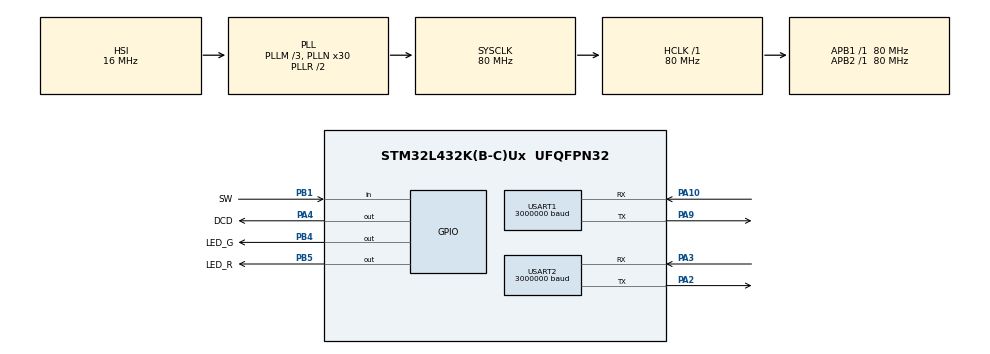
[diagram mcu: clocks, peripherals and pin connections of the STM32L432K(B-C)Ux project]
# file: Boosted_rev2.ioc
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Mcu.Family=STM32L4
Mcu.Name=STM32L432K(B-C)Ux
Mcu.Package=UFQFPN32
NVIC.PriorityGroup=NVIC_PRIORITYGROUP_4
NVIC.USART1_IRQn=true\:0\:0\:false\:false\:true\:true\:true\:true
NVIC.USART2_IRQn=true\:0\:0\:true\:false\:true\:true\:true\:true
PA0.Mode=HSE-External-Clock-Source-for-LittleOrca
PA0.Signal=RCC_CK_IN
PA10.Mode=Asynchronous
PA10.Signal=USART1_RX
PA13\ (JTMS-SWDIO).Mode=Trace_Asynchronous_SW
PA13\ (JTMS-SWDIO).Signal=SYS_JTMS-SWDIO
PA14\ (JTCK-SWCLK).Mode=Trace_Asynchronous_SW
PA14\ (JTCK-SWCLK).Signal=SYS_JTCK-SWCLK
PA2.Mode=Asynchronous
PA2.Signal=USART2_TX
PA3.Mode=Asynchronous
PA3.Signal=USART2_RX
PA4.GPIO_Label=DCD
PA4.Signal=GPIO_Output
PA9.Mode=Asynchronous
PA9.Signal=USART1_TX
PB1.GPIO_Label=SW
PB1.GPIO_PuPd=GPIO_PULLUP
PB1.Signal=GPIO_Input
PB3\ (JTDO-TRACESWO).Mode=Trace_Asynchronous_SW
PB3\ (JTDO-TRACESWO).Signal=SYS_JTDO-SWO
PB4\ (NJTRST).GPIO_Label=LED_G
PB4\ (NJTRST).Signal=GPIO_Output
PB5.GPIO_Label=LED_R
PB5.Signal=GPIO_Output
ProjectManager.HeapSize=0x200
ProjectManager.StackSize=0x800
ProjectManager.TargetToolchain=STM32CubeIDE
RCC.ADCFreq_Value=21333333.333333332
RCC.AHBFreq_Value=80000000
RCC.APB1Freq_Value=80000000
RCC.APB1TimFreq_Value=80000000
RCC.APB2Freq_Value=80000000
RCC.APB2TimFreq_Value=80000000
RCC.CortexFreq_Value=80000000
RCC.HCLKFreq_Value=80000000
RCC.HSE_Timout=1000
RCC.HSE_VALUE=15000000
RCC.HSI48_VALUE=48000000
RCC.HSI_VALUE=16000000
RCC.LSE_VALUE=32768
RCC.MSI_VALUE=4000000
RCC.PLLM=3
RCC.PLLN=30
RCC.PLLSourceVirtual=RCC_PLLSOURCE_HSI
RCC.PREFETCH_ENABLE=1
RCC.SYSCLKFreq_VALUE=80000000
RCC.SYSCLKSource=RCC_SYSCLKSOURCE_PLLCLK
RCC.USBFreq_Value=21333333.333333332
RCC.VCOOutputFreq_Value=160000000
USART1.BaudRate=3000000
USART1.Mode=MODE_TX_RX
USART1.OverSampling=UART_OVERSAMPLING_8
USART1.VirtualMode-Asynchronous=VM_ASYNC
USART1.WordLength=WORDLENGTH_8B
USART2.BaudRate=3000000
USART2.OverSampling=UART_OVERSAMPLING_8
USART2.VirtualMode-Asynchronous=VM_ASYNC
USART2.WordLength=WORDLENGTH_8B
board=Boosted_rev2

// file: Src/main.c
/* USER CODE BEGIN Header */
/**
  ******************************************************************************
  * @file           : main.c
  * @brief          : Main program body
  ******************************************************************************
  * @attention
  *
  * Copyright (c) 2022 STMicroelectronics.
  * All rights reserved.
  *
  * This software is licensed under terms that can be found in the LICENSE file
  * in the root directory of this software component.
  * If no LICENSE file comes with this software, it is provided AS-IS.
  *
  ******************************************************************************
  */
/* USER CODE END Header */
#include "main.h"

/* USER CODE BEGIN Includes */
#include "config.h"
/* USER CODE END Includes */

UART_HandleTypeDef huart1;
UART_HandleTypeDef huart2;

/* USER CODE BEGIN PV */
/* Private variables ---------------------------------------------------------*/

LED_TypeDef LED_R;
LED_TypeDef LED_G;

volatile Packet_TypeDef RX;
volatile Packet_TypeDef TX;

volatile uint32_t Global_Error = 0;

/* USER CODE END PV */

void SystemClock_Config(void);
static void MX_GPIO_Init(void);
static void MX_USART1_UART_Init(void);
static void MX_USART2_UART_Init(void);
/* USER CODE BEGIN PFP */
/* Private function prototypes -----------------------------------------------*/
void LED_Routine();

/* USER CODE END PFP */

int main(void)
{

  /* MCU Configuration--------------------------------------------------------*/

  /* Reset of all peripherals, Initializes the Flash interface and the Systick. */
  HAL_Init();

  /* Configure the system clock */
  SystemClock_Config();

  /* Initialize all configured peripherals */
  MX_GPIO_Init();
  MX_USART1_UART_Init();
  MX_USART2_UART_Init();
  /* USER CODE BEGIN 2 */

	/*Initialize UART*/

	HAL_UART_DeInit(&HUART_PC);
	HAL_UART_DeInit(&HUART_MOTOR);

	/* Change baudrate based on dip switch position */
	if (BAUD_SW)
	{
		LED_R.Pattern=2;
		HUART_PC.Init.BaudRate = 8000000;
		HUART_MOTOR.Init.BaudRate = 8000000;
	}
	else
	{
		LED_R.Pattern=3;
		HUART_PC.Init.BaudRate = 3000000;
		HUART_MOTOR.Init.BaudRate = 3000000;
	}

	LED_R.Cycles=1;

	/* UART1 from PC */
	HAL_UART_Init(&HUART_PC);
	/* UART2 from motors */
	HAL_UART_Init(&HUART_MOTOR);

	/* Enable the UART Error Interrupt: (Frame error, noise error, overrun error) */
	SET_BIT(USART_PC->CR3, USART_CR3_EIE);
	/* Enable the UART Parity Error interrupt and Data Register Not Empty interrupt */
	SET_BIT(USART_PC->CR1, USART_CR1_PEIE | USART_CR1_RXNEIE);

	/* Enable the UART Error Interrupt: (Frame error, noise error, overrun error) */
	SET_BIT(USART_MOTOR->CR3, USART_CR3_EIE);
	/* Enable the UART Parity Error interrupt and Data Register Not Empty interrupt */
	SET_BIT(USART_MOTOR->CR1, USART_CR1_PEIE | USART_CR1_RXNEIE);

	LED_G_ON();

  /* USER CODE END 2 */

  /* Infinite loop */
	while (1)
	{

    /* USER CODE BEGIN 3 */

		/*Watchdog*/
		//HAL_IWDG_Refresh(&hiwdg);

	}

  /* USER CODE END 3 */
}

void SystemClock_Config(void)
{
  RCC_OscInitTypeDef RCC_OscInitStruct = {0};
  RCC_ClkInitTypeDef RCC_ClkInitStruct = {0};

  /** Configure the main internal regulator output voltage
  */
  if (HAL_PWREx_ControlVoltageScaling(PWR_REGULATOR_VOLTAGE_SCALE1) != HAL_OK)
  {
    Error_Handler();
  }

  /** Initializes the RCC Oscillators according to the specified parameters
  * in the RCC_OscInitTypeDef structure.
  */
  RCC_OscInitStruct.OscillatorType = RCC_OSCILLATORTYPE_HSI;
  RCC_OscInitStruct.HSIState = RCC_HSI_ON;
  RCC_OscInitStruct.HSICalibrationValue = RCC_HSICALIBRATION_DEFAULT;
  RCC_OscInitStruct.PLL.PLLState = RCC_PLL_ON;
  RCC_OscInitStruct.PLL.PLLSource = RCC_PLLSOURCE_HSI;
  RCC_OscInitStruct.PLL.PLLM = 3;
  RCC_OscInitStruct.PLL.PLLN = 30;
  RCC_OscInitStruct.PLL.PLLP = RCC_PLLP_DIV7;
  RCC_OscInitStruct.PLL.PLLQ = RCC_PLLQ_DIV2;
  RCC_OscInitStruct.PLL.PLLR = RCC_PLLR_DIV2;
  if (HAL_RCC_OscConfig(&RCC_OscInitStruct) != HAL_OK)
  {
    Error_Handler();
  }

  /** Initializes the CPU, AHB and APB buses clocks
  */
  RCC_ClkInitStruct.ClockType = RCC_CLOCKTYPE_HCLK|RCC_CLOCKTYPE_SYSCLK
                              |RCC_CLOCKTYPE_PCLK1|RCC_CLOCKTYPE_PCLK2;
  RCC_ClkInitStruct.SYSCLKSource = RCC_SYSCLKSOURCE_PLLCLK;
  RCC_ClkInitStruct.AHBCLKDivider = RCC_SYSCLK_DIV1;
  RCC_ClkInitStruct.APB1CLKDivider = RCC_HCLK_DIV1;
  RCC_ClkInitStruct.APB2CLKDivider = RCC_HCLK_DIV1;

  if (HAL_RCC_ClockConfig(&RCC_ClkInitStruct, FLASH_LATENCY_4) != HAL_OK)
  {
    Error_Handler();
  }
}

static void MX_USART1_UART_Init(void)
{

  huart1.Instance = USART1;
  huart1.Init.BaudRate = 3000000;
  huart1.Init.WordLength = UART_WORDLENGTH_8B;
  huart1.Init.StopBits = UART_STOPBITS_1;
  huart1.Init.Parity = UART_PARITY_NONE;
  huart1.Init.Mode = UART_MODE_TX_RX;
  huart1.Init.HwFlowCtl = UART_HWCONTROL_NONE;
  huart1.Init.OverSampling = UART_OVERSAMPLING_8;
  huart1.Init.OneBitSampling = UART_ONE_BIT_SAMPLE_DISABLE;
  huart1.AdvancedInit.AdvFeatureInit = UART_ADVFEATURE_NO_INIT;
  if (HAL_UART_Init(&huart1) != HAL_OK)
  {
    Error_Handler();
  }

}

static void MX_USART2_UART_Init(void)
{

  huart2.Instance = USART2;
  huart2.Init.BaudRate = 3000000;
  huart2.Init.WordLength = UART_WORDLENGTH_8B;
  huart2.Init.StopBits = UART_STOPBITS_1;
  huart2.Init.Parity = UART_PARITY_NONE;
  huart2.Init.Mode = UART_MODE_TX_RX;
  huart2.Init.HwFlowCtl = UART_HWCONTROL_NONE;
  huart2.Init.OverSampling = UART_OVERSAMPLING_8;
  huart2.Init.OneBitSampling = UART_ONE_BIT_SAMPLE_DISABLE;
  huart2.AdvancedInit.AdvFeatureInit = UART_ADVFEATURE_NO_INIT;
  if (HAL_UART_Init(&huart2) != HAL_OK)
  {
    Error_Handler();
  }

}

static void MX_GPIO_Init(void)
{
  GPIO_InitTypeDef GPIO_InitStruct = {0};

  /* GPIO Ports Clock Enable */
  __HAL_RCC_GPIOC_CLK_ENABLE();
  __HAL_RCC_GPIOA_CLK_ENABLE();
  __HAL_RCC_GPIOB_CLK_ENABLE();
  __HAL_RCC_GPIOH_CLK_ENABLE();

  /*Configure GPIO pin Output Level */
  HAL_GPIO_WritePin(DCD_GPIO_Port, DCD_Pin, GPIO_PIN_RESET);

  /*Configure GPIO pin Output Level */
  HAL_GPIO_WritePin(GPIOB, LED_G_Pin|LED_R_Pin, GPIO_PIN_RESET);

  /*Configure GPIO pins : PC14 PC15 */
  GPIO_InitStruct.Pin = GPIO_PIN_14|GPIO_PIN_15;
  GPIO_InitStruct.Mode = GPIO_MODE_ANALOG;
  GPIO_InitStruct.Pull = GPIO_NOPULL;
  HAL_GPIO_Init(GPIOC, &GPIO_InitStruct);

  /*Configure GPIO pins : PA1 PA5 PA6 PA7
                           PA8 PA11 PA12 PA15 */
  GPIO_InitStruct.Pin = GPIO_PIN_1|GPIO_PIN_5|GPIO_PIN_6|GPIO_PIN_7
                          |GPIO_PIN_8|GPIO_PIN_11|GPIO_PIN_12|GPIO_PIN_15;
  GPIO_InitStruct.Mode = GPIO_MODE_ANALOG;
  GPIO_InitStruct.Pull = GPIO_NOPULL;
  HAL_GPIO_Init(GPIOA, &GPIO_InitStruct);

  /*Configure GPIO pin : DCD_Pin */
  GPIO_InitStruct.Pin = DCD_Pin;
  GPIO_InitStruct.Mode = GPIO_MODE_OUTPUT_PP;
  GPIO_InitStruct.Pull = GPIO_NOPULL;
  GPIO_InitStruct.Speed = GPIO_SPEED_FREQ_LOW;
  HAL_GPIO_Init(DCD_GPIO_Port, &GPIO_InitStruct);

  /*Configure GPIO pins : PB0 PB6 PB7 */
  GPIO_InitStruct.Pin = GPIO_PIN_0|GPIO_PIN_6|GPIO_PIN_7;
  GPIO_InitStruct.Mode = GPIO_MODE_ANALOG;
  GPIO_InitStruct.Pull = GPIO_NOPULL;
  HAL_GPIO_Init(GPIOB, &GPIO_InitStruct);

  /*Configure GPIO pin : SW_Pin */
  GPIO_InitStruct.Pin = SW_Pin;
  GPIO_InitStruct.Mode = GPIO_MODE_INPUT;
  GPIO_InitStruct.Pull = GPIO_PULLUP;
  HAL_GPIO_Init(SW_GPIO_Port, &GPIO_InitStruct);

  /*Configure GPIO pins : LED_G_Pin LED_R_Pin */
  GPIO_InitStruct.Pin = LED_G_Pin|LED_R_Pin;
  GPIO_InitStruct.Mode = GPIO_MODE_OUTPUT_PP;
  GPIO_InitStruct.Pull = GPIO_NOPULL;
  GPIO_InitStruct.Speed = GPIO_SPEED_FREQ_LOW;
  HAL_GPIO_Init(GPIOB, &GPIO_InitStruct);

  /*Configure GPIO pin : PH3 */
  GPIO_InitStruct.Pin = GPIO_PIN_3;
  GPIO_InitStruct.Mode = GPIO_MODE_ANALOG;
  GPIO_InitStruct.Pull = GPIO_NOPULL;
  HAL_GPIO_Init(GPIOH, &GPIO_InitStruct);

}

/* USER CODE BEGIN 4 */

/**
 * @brief Turn on specific LED
 *
 * @param LED pointer to LED type define
 */
inline static void LED_ON(LED_TypeDef *LED)
{
	if (LED == (&LED_G))
		LED_G_ON();
	else
		LED_R_ON();
}

/**
 * @brief Turn off specific LED
 *
 * @param LED pointer to LED type define
 */
inline static void LED_OFF(LED_TypeDef *LED)
{
	if (LED == (&LED_G))
		LED_G_OFF();
	else
		LED_R_OFF();
}

/**
 * @brief LED routine to handle LED flash patterns.
 *
 * @param LED pointer to LED type define
 */
void LED_Routine(LED_TypeDef *LED)
{

	if (LED->Pattern)
	{
		/* has pattern */

		if (Pattern_State[LED->Pattern - 1][LED->Pattern_Step])
			LED->CT = 1;	//LED_ON(LED);
//		else
//			LED_OFF(LED);

		LED->Pattern_CT++;

		if (LED->Pattern_CT
				> Pattern_Delay[LED->Pattern - 1][LED->Pattern_Step])
		{
			/* Next step */
			LED->Pattern_CT = 0;

			LED->Pattern_Step++;
			if (LED->Pattern_Step >= Pattern_Length[LED->Pattern - 1])
			{
				/*over the length limit*/
				LED->Pattern_Step = 0;
				if (LED->Cycles)
					LED->Cycles--;
				if (LED->Cycles == 0)
				{
					/*done pattern cycles*/
					LED->Pattern = 0;
				}
			}
		}

	}

	if (LED->CT)
	{
		LED_ON(LED);
		LED->CT--;
	}
	else
		LED_OFF(LED);

}

/**
 * @brief routine called at systick, 1kHz
 *
 */
void HAL_SYSTICK_Callback(void)
{

	/* if not idle -> count up */
	if (RX.Packet_Stat != IDLE)
		RX.Idle_CT++;
	else
		RX.Idle_CT = 0;

	if (RX.Idle_CT > RX_NON_IDLE_LIMIT)
	{
		//RX timeout
		Global_Error |= ERR_PACKET_TIMEOUT;
		RX.Packet_Stat = IDLE;
	}

	/* if not idle -> count up */
	if (TX.Packet_Stat != IDLE)
		TX.Idle_CT++;
	else
		TX.Idle_CT = 0;
	if (TX.Idle_CT > TX_NON_IDLE_LIMIT)
	{
		//TX timeout
		Global_Error |= ERR_PACKET_TIMEOUT;
		TX.Packet_Stat = IDLE;
	}

	/* Error handling */
	if (Global_Error & ERR_UART)
	{
		LED_G.Pattern = 3;
		LED_G.Cycles = 5;
		Global_Error &= (~ERR_UART);
	}
	else if (Global_Error & ERR_CHECKSUM)
	{
		LED_G.Pattern = 2;
		LED_G.Cycles = 5;
		Global_Error &= (~ERR_CHECKSUM);
	}
	else if (Global_Error & ERR_PACKET_TIMEOUT)
	{
		LED_G.Pattern = 1;
		LED_G.Cycles = 5;
		Global_Error &= (~ERR_PACKET_TIMEOUT);
	}

	/* Green LED normally always on */
	if (LED_G.Cycles == 0)
		LED_G_FLASH();

	LED_Routine(&LED_R);
	LED_Routine(&LED_G);
}

/**
 * @brief UART Error callback
 *
 * @param huart
 */
void HAL_UART_ErrorCallback(UART_HandleTypeDef *huart)
{

	if (huart == &HUART_MOTOR)
	{
		Global_Error |= ERR_UART;
		//HAL_UART_GetError(huart);

		RX.Packet_Stat = IDLE;
		/* Enable the UART Error Interrupt: (Frame error, noise error, overrun error) */
		SET_BIT(HUART_MOTOR.Instance->CR3, USART_CR3_EIE);
		/* Enable the UART Parity Error interrupt and Data Register Not Empty interrupt */
		SET_BIT(HUART_MOTOR.Instance->CR1, USART_CR1_PEIE | USART_CR1_RXNEIE);
	}
	else if (huart == &HUART_PC)
	{
		Global_Error |= ERR_UART;

		TX.Packet_Stat = IDLE;
		/* Enable the UART Error Interrupt: (Frame error, noise error, overrun error) */
		SET_BIT(HUART_PC.Instance->CR3, USART_CR3_EIE);
		/* Enable the UART Parity Error interrupt and Data Register Not Empty interrupt */
		SET_BIT(HUART_PC.Instance->CR1, USART_CR1_PEIE | USART_CR1_RXNEIE);

	}

}

/* USER CODE END 4 */

void Error_Handler(void)
{
	while(1)
	{
	}
}
